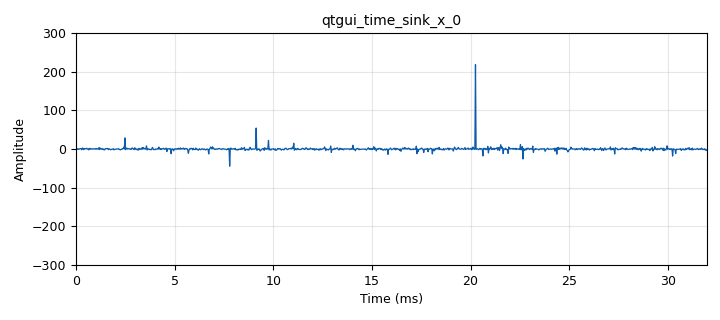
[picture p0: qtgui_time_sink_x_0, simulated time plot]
options:
  parameters:
    generate_options: qt_gui
    id: alpha_stable_generator
    output_language: python
    title: Not titled yet
  states: {}

blocks:
- name: samp_rate
  id: variable
  parameters:
    value: '32000'
  states: {}
- name: analog_random_source_x_0
  id: analog_random_source_x
  parameters:
    max: '255'
    min: '0'
    num_samps: '500'
    repeat: 'True'
    type: byte
  states: {}
- name: blocks_delay_0
  id: blocks_delay
  parameters:
    delay: '0'
    type: byte
  states: {state: disabled}
- name: blocks_delay_1
  id: blocks_delay
  parameters:
    delay: '0'
    type: byte
  states: {state: disabled}
- name: blocks_file_sink_0
  id: blocks_file_sink
  parameters:
    file: C:\Users\ANEDCD~1\Desktop\3.letnik\Diploma\simulations\source.bin
    type: byte
  states: {}
- name: blocks_file_sink_1
  id: blocks_file_sink
  parameters:
    file: C:\Users\ANEDCD~1\Desktop\3.letnik\Diploma\simulations\decoded.bin
    type: byte
  states: {}
- name: blocks_file_sink_2
  id: blocks_file_sink
  parameters:
    file: C:\Users\ANEDCD~1\Desktop\3.letnik\Diploma\simulations\encoded.bin
    type: float
  states: {}
- name: blocks_throttle2_0
  id: blocks_throttle2
  parameters:
    samples_per_second: samp_rate
    type: float
  states: {}
- name: epy_block_0
  id: epy_block
  parameters:
    _source_code: |-
      """
      Embedded Python Blocks:

      Each time this file is saved, GRC will instantiate the first class it finds
      to get ports and parameters of your block. The arguments to __init__  will
      be the parameters. All of them are required to have default values!
      """

      import numpy as np
      from gnuradio import gr


      class alpha_encoder(gr.sync_block):
          """Alpha_stable_generator"""
          
          

          #argumenti
          def __init__(self, alpha_map=[1.2, 1.4, 1.6, 1.8], beta_map=[-1.0, -0.3, 0.3, 1.0], gama_map=[0.5, 1.0, 1.5, 2.0], samples_per_symbol=500, encode_alpha=True, encode_beta=True, encode_gama=False):  # only default arguments here
              """arguments to this function show up as parameters in GRC"""
              gr.sync_block.__init__(
                  self,
                  name='alpha_encoder', # will show up in GRC
                  in_sig=[np.uint8], #vrsta podatka ka gre in
                  out_sig=[np.float32] #vrsta podatka ka gre out
              )
              # if an attribute with the same name as a parameter is found,
              # a callback is registered (properties work, too).
              self.alpha_map = alpha_map
              self.beta_map = beta_map
              self.gama_map = gama_map
              self.encode_alpha = encode_alpha
              self.encode_beta = encode_beta
              self.encode_gama = encode_gama
              self.samples_per_symbol = samples_per_symbol
              self.bit_buffer = []
              

          #CMS stblrnd.m
          def alpha_stable(self, size, alpha=1.1, beta=0.0, gama=1.0): #size=number_of_samples generated, scale je gama (igraj se s temi tremi ce ti rata lahk encodas en byte kar ze ni tko slabo)
              V = np.random.uniform(-np.pi/2, np.pi/2, size)
              W = np.random.exponential(1, size)

              const = beta * np.tan(np.pi * alpha / 2)
              B = np.arctan(const)
              S = (1 + const**2)**(1/(2*alpha))

              X = S * np.sin(alpha*V + B) / (np.cos(V))**(1/alpha) * (np.cos((1-alpha)*V - B) / W)**((1-alpha)/alpha)

              return gama * X
                  
          @staticmethod
          def is_power_of_two(x):
                  #flika vse bitke bo tocn 0
                  return (x & (x - 1)) == 0 and x > 0 
          
          @staticmethod
          def log2_za_potence2(x):
              if x == 0:
                  return 0

              if alpha_encoder.is_power_of_two(x):
                  vrednost = 0
                  while x > 1:
                      x >>= 1
                      vrednost += 1
                  return vrednost
              else:
                  raise ValueError("One of the maps is not of power 2^n")

          
          def work(self, input_items, output_items):
              data = input_items[0]
              out = output_items[0]

              idx = 0
              
              if self.encode_alpha and not self.is_power_of_two(len(self.alpha_map)):
                  raise ValueError("alpha_map size must be power of 2")

              if self.encode_beta and not self.is_power_of_two(len(self.beta_map)):
                  raise ValueError("beta_map size must be power of 2")

              if self.encode_gama and not self.is_power_of_two(len(self.gama_map)):
                  raise ValueError("gama_map size must be power of 2")
              
              bits_alpha = self.log2_za_potence2(len(self.alpha_map)) if self.encode_alpha else 0
              bits_beta  = self.log2_za_potence2(len(self.beta_map)) if self.encode_beta else 0
              bits_gama  = self.log2_za_potence2(len(self.gama_map)) if self.encode_gama else 0

              #to rabimo da vemo koliko bitov lahko z enim signalom predstavimo
              bits_per_symbol = bits_alpha + bits_beta + bits_gama

              if bits_per_symbol == 0:
                  return 0

              #bit buffer ka rabim delat z streemom
              
              for byte in data:
                  for i in range(8):
                      self.bit_buffer.append((byte >> i) & 1)

              #provimo byte predstavit
              while len(self.bit_buffer) >= bits_per_symbol:
                  
                  offset = 0

                  # defaults če ni mape mogoce pole za popravit
                  alpha = 1.1
                  beta = 0.0
                  gama = 1.0

                  def read_bits(n, offset):
                      val = 0
                      for i in range(n):
                          val |= (self.bit_buffer[offset + i] << i)
                      return val
                  

                  # --- ALPHA ---
                  if self.encode_alpha:
                      #koliko bitov je v alphi
                      alpha_bits = read_bits(bits_alpha, offset)
                      alpha = self.alpha_map[alpha_bits]
                      offset += bits_alpha

                  # --- BETA ---
                  if self.encode_beta:
                      beta_bits = read_bits(bits_beta, offset)
                      beta = self.beta_map[beta_bits]
                      offset += bits_beta

                  # --- GAMA ---
                  if self.encode_gama:
                      gama_bits = read_bits(bits_gama, offset)
                      gama = self.gama_map[gama_bits]
                      offset += bits_gama

                  self.bit_buffer = self.bit_buffer[bits_per_symbol:]

                  samples = self.alpha_stable(
                      self.samples_per_symbol,
                      alpha,
                      beta,
                      gama
                  )

                  if idx + self.samples_per_symbol > len(out):
                      return idx

                  out[idx:idx+self.samples_per_symbol] = samples
                  idx += self.samples_per_symbol

              return idx
    alpha_map: '[1.2, 1.4, 1.6, 1.8]'
    beta_map: '[-1.0, -0.3, 0.3, 1.0]'
    encode_alpha: 'True'
    encode_beta: 'False'
    encode_gama: 'False'
    gama_map: '[0.5, 1.0, 1.5, 2.0]'
    samples_per_symbol: '500'
  states: {}
- name: epy_block_1
  id: epy_block
  parameters:
    L: '10'
    _source_code: |-
      """
      Embedded Python Blocks:

      Each time this file is saved, GRC will instantiate the first class it finds
      to get ports and parameters of your block. The arguments to __init__  will
      be the parameters. All of them are required to have default values!
      """

      import numpy as np
      from gnuradio import gr


      class alpha_decoder(gr.sync_block):  # other base classes are basic_block, decim_block, interp_block
          """Decoder for alpha_encoder using samples with corresponding variances"""

          def __init__(self, alpha_map=[1.2, 1.4, 1.6, 1.8], beta_map=[-1.0, -0.3, 0.3, 1.0], gama_map=[0.5, 1.0, 1.5, 2.0], samples_per_symbol=500, L=10, encode_alpha=True, encode_beta=True, encode_gama=False):  # only default arguments here
              """arguments to this function show up as parameters in GRC"""
              gr.sync_block.__init__(
                  self,
                  name='alpha_decoder',   # will show up in GRC
                  in_sig=[np.float32],
                  out_sig=[np.uint8]
              )
              self.samples_per_symbol = samples_per_symbol
              self.L = L
              self.encode_alpha = encode_alpha
              self.encode_beta = encode_beta
              self.encode_gama = encode_gama
              self.alpha_map = alpha_map
              self.beta_map = beta_map
              self.gama_map = gama_map

              self.bit_buffer = []

          @staticmethod
          def ali_je_deljivo(samples_per_symbol, L):
              return samples_per_symbol % L == 0
                  
          @staticmethod
          def closest_index(value, list):
              arr = np.array(list)
              return int(np.argmin(np.abs(arr - value)))
          
          @staticmethod
          def is_power_of_two(x):
                  #flika vse bitke bo tocn 0
                  return x > 0 and (x & (x - 1)) == 0
          
          @staticmethod
          def log2_za_potence2(x):
              if x == 0:
                  return 0

              if alpha_decoder.is_power_of_two(x):
                  vrednost = 0
                  while x > 1:
                      x >>= 1
                      vrednost += 1
                  return vrednost
              else:
                  raise ValueError("One of the maps is not of power 2^n")

          def work(self, input_items, output_items):
              in_samples = input_items[0]
              out = output_items[0]
              num_symbols = len(in_samples) // self.samples_per_symbol
              if not self.ali_je_deljivo(self.samples_per_symbol, self.L):
                  raise ValueError("Samples_per_symbol is not devisible by L")

              samples_per_realization = self.samples_per_symbol // self.L


              for sym in range(num_symbols):
                  #print(self.bit_buffer)
                  sym_samples = in_samples[sym*self.samples_per_symbol : (sym+1)*self.samples_per_symbol]

                  Yl_max = []
                  Yl_min = []

                  for l in range(self.L):
                      #samples kolko jih dat skup in kje zacet in koncat
                      start = l*samples_per_realization 
                      end = start + samples_per_realization
                      segment = sym_samples[start:end] #probably samples_per_symbol mora bit deliv z L

                      Yl_max.append(np.max(segment))
                      Yl_min.append(np.min(segment))

                  #zdej zračuni vse

                  Y_max = np.mean(Yl_max)
                  Y_min = np.mean(Yl_min)

                  s2_max = np.var(Yl_max, ddof=1) #ddof je za uno minus 1 (deliš z L - 1) dokumentacija
                  s2_min = np.var(Yl_min, ddof=1)

                  #default
                  probably_alpha = 1.1
                  probably_beta = 0.0
                  probably_gama = 1.0

                  #zdej pa iz tega izračunamo parametre

                  #alpha
                  if self.encode_alpha:
                      probably_alpha = (np.pi / (2*np.sqrt(6))) * ((1.0 / Y_max) + (1.0 / Y_min))

                  #beta
                  if self.encode_beta:
                      probably_beta = 1 - (2 / (np.exp(probably_alpha*(np.sqrt(s2_max) - np.sqrt(s2_min)))))

                  #gama (to je skaliranje torej provamo z Y_max in Y_min, mogoče pa tudi kako drugače z max od vseh ne povpračje al neki idk)
                  if self.encode_gama:
                      probably_gama = (Y_max - Y_min) / 2.0

                  print("Alpha, beta, gama:")
                  print(probably_alpha, probably_beta, probably_gama)


                  #zdej rabim samo še mapirat te vrednosti najbližjim vrednostim v mapi
                  if self.encode_alpha:
                      alpha_idx = self.closest_index(probably_alpha, self.alpha_map)
                      bits_alpha = self.log2_za_potence2(len(self.alpha_map))
                      #rabim ohranjat LSB iz encoderja
                      self.bit_buffer += [(alpha_idx >> i) & 1 for i in range(bits_alpha)] # bejzi od zadi naprej mozn da je to fljeno da bi mogu MSB ka je areeb neki reku idk
                  
                  if self.encode_beta:
                      beta_idx = self.closest_index(probably_beta, self.beta_map)
                      bits_beta = self.log2_za_potence2(len(self.beta_map))
                      self.bit_buffer += [(beta_idx >> i) & 1 for i in range(bits_beta)] 

                  if self.encode_gama:
                      gama_idx = self.closest_index(probably_gama, self.gama_map)
                      bits_gama = self.log2_za_potence2(len(self.gama_map))
                      self.bit_buffer += [(gama_idx >> i) & 1 for i in range(bits_gama)]

              idx = 0
              #convert bits to bytes
              for i in range(0, len(self.bit_buffer), 8):
                  byte_bits = self.bit_buffer[i:i+8]
                  if len(byte_bits) < 8:
                      break

                  val = sum([bit << j for j, bit in enumerate(byte_bits)])

                  if idx < len(out):
                      out[idx] = val
                      idx += 1
              
              self.bit_buffer = self.bit_buffer[idx*8:] #zbriše une ka sm v tem loopu zdej uporabu
              
              return idx
    alpha_map: '[1.2, 1.4, 1.6, 1.8]'
    beta_map: '[-1.0, -0.3, 0.3, 1.0]'
    encode_alpha: 'True'
    encode_beta: 'False'
    encode_gama: 'False'
    gama_map: '[0.5, 1.0, 1.5, 2.0]'
    samples_per_symbol: '500'
  states: {}
- name: qtgui_time_sink_x_0
  id: qtgui_time_sink_x
  parameters:
    entags: 'False'
    grid: 'True'
    size: '1024'
    srate: samp_rate
    type: float
    ymax: '300'
    ymin: '-300'
  states: {}

connections:
- [analog_random_source_x_0, '0', blocks_delay_0, '0']
- [analog_random_source_x_0, '0', blocks_file_sink_0, '0']
- [analog_random_source_x_0, '0', epy_block_0, '0']
- [blocks_delay_0, '0', blocks_file_sink_0, '0']
- [blocks_delay_1, '0', blocks_file_sink_1, '0']
- [blocks_throttle2_0, '0', blocks_file_sink_2, '0']
- [blocks_throttle2_0, '0', epy_block_1, '0']
- [blocks_throttle2_0, '0', qtgui_time_sink_x_0, '0']
- [epy_block_0, '0', blocks_throttle2_0, '0']
- [epy_block_1, '0', blocks_delay_1, '0']
- [epy_block_1, '0', blocks_file_sink_1, '0']

metadata:
  file_format: 1
  grc_version: 3.10.12.0
